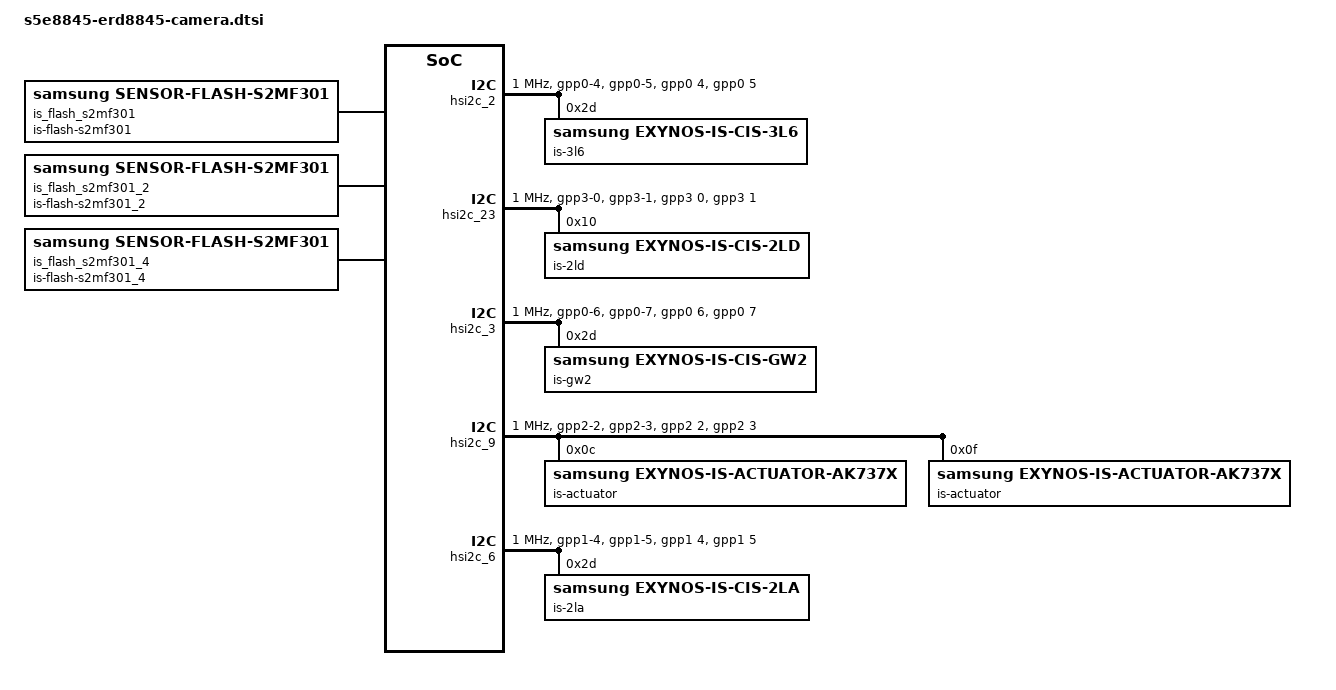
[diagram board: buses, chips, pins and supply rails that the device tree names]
/*
 * Samsung Exynos SoC series Pablo driver
 *
 * Copyright (c) 2023 Samsung Electronics Co., Ltd
 *
 * This program is free software; you can redistribute it and/or modify
 * it under the terms of the GNU General Public License version 2 as
 * published by the Free Software Foundation.
 */

#include <dt-bindings/camera/exynos_is_dt.h>

#include "module_2ld.dtsi" /* REAR CAMERA */
#include "module_3l6.dtsi" /* FRONT CAMERA */
#include "module_2la.dtsi" /* Ultra Wide CAMERA */
#include "module_gw2_low_mipi.dtsi" /* Tele CAMERA */

/ {
	fragment@camera {
		target-path = "/";
		__overlay__ {
			#address-cells = <2>;
			#size-cells = <1>;
			interrupt-parent = <&gic>;

			/* UW CAMERA */
			is_sensor_2ld: is_sensor_2ld@20 {
				pinctrl-names = "pin0", "pin1", "pin2", "release";
				pinctrl-0 = <>;
				pinctrl-1 = <&sensor_mclk0_out>;
				pinctrl-2 = <&sensor_mclk0_fn>;
				pinctrl-3 = <>;

				/* board */
				position = <4>;	/* Rear:0. Front1:1. Tele:2. Front2:3. Ultra Wide:4 */
				id = <4>; /* is_sensor id */
				mclk_ch = <0>;
				sensor_i2c_ch = <0>; /* SENSOR_CONTROL_I2C0 */

				/* peri */
				af {
					product_name = <18>; /* ACTUATOR_NAME_AK737X */
					i2c_ch = <7>; /* SENSOR_CONTROL_I2C7 */
				};

				flash {
					product_name = <19>; /* S2MF301 */
				};

				ois {
					product_name = <100>; /* NOTHING */
				};

				power_seq {
					use = <1>;
					gpio_mclk = <&gpg0 1 0x1>;

					scenario_normal_on {
						sensor_scenario = <SENSOR_SCENARIO_NORMAL>;
						gpio_scenario = <GPIO_SCENARIO_ON>;

						/* A start node number should be over the 10 for reserved number 0~9. */
						/* pname = "name"; pin = <act value delay voltage>; gpio = <gpx# # 0x1>; */
						3 { pname; pin; gpio; };
						5 { pname; pin; gpio; };
						10 { pname = "sen_rst low"; pin = <PIN_OUTPUT 0 0>; gpio = <&gpg2 1 0x1>; };
						20 { pname = "VDDIO_1.8V_CAMIO"; pin = <PIN_REGULATOR 1 300>; share = <SRT_ACQUIRE SHARED_PIN2 1>; };
						30 { pname = "VDDA_2.95V_CAM"; pin = <PIN_REGULATOR 1 0>; };
						40 { pname = "VDDD_1.05V_SUB"; pin = <PIN_REGULATOR 1 0>; };
						50 { pname = "VDDD_1.05V_SUB2"; pin = <PIN_REGULATOR 1 1>; };
						60 { pname = "VDDA_2.8V_VT"; pin = <PIN_REGULATOR 1 1>; share = <SRT_ACQUIRE SHARED_PIN6 1>; actuator_i2c_delay = <10000>; };
						65 { pname; pin; gpio; };
						66 { pname; pin; gpio; };
						85 { pname; pin; gpio; };
						86 { pname; pin; gpio; };
						90 { pname = "on_i2c"; pin = <PIN_I2C 1 0>; };
						100 { pname = "pin"; pin = <PIN_FUNCTION 2 0>; share = <SRT_ACQUIRE SHARED_PIN1 1>; };
						110 { pname = "MCLK"; pin = <PIN_MCLK 1 1500>; share = <SRT_ACQUIRE SHARED_PIN0 1>; };
						120 { pname = "sen_rst high"; pin = <PIN_OUTPUT 1 3000>; gpio = <&gpg2 1 0x1>; };
					};

					scenario_vision_on {
						sensor_scenario = <SENSOR_SCENARIO_VISION>;
						gpio_scenario = <GPIO_SCENARIO_ON>;

						/* A start node number should be over the 10 for reserved number 0~9. */
						/* pname = "name"; pin = <act value delay voltage>; gpio = <gpx# # 0x1>; */
						3 { pname; pin; gpio; };
						5 { pname; pin; gpio; };
						10 { pname = "sen_rst low"; pin = <PIN_OUTPUT 0 0>; gpio = <&gpg2 1 0x1>; };
						20 { pname = "VDDIO_1.8V_CAMIO"; pin = <PIN_REGULATOR 1 300>; };
						30 { pname = "VDDA_2.95V_CAM"; pin = <PIN_REGULATOR 1 0>; };
						40 { pname = "VDDD_1.05V_SUB"; pin = <PIN_REGULATOR 1 0>; };
						50 { pname = "VDDD_1.05V_SUB2"; pin = <PIN_REGULATOR 1 1>; };
						60 { pname = "VDDA_2.8V_VT"; pin = <PIN_REGULATOR 1 1>; };

						90 { pname = "on_i2c"; pin = <PIN_I2C 1 0>; };
						100 { pname = "pin"; pin = <PIN_FUNCTION 2 0>; };
						110 { pname = "MCLK"; pin = <PIN_MCLK 1 1500>; };
						120 { pname = "sen_rst high"; pin = <PIN_OUTPUT 1 3000>; gpio = <&gpg2 1 0x1>; };
					};

					scenario_hw_init_normal_on {
						/* HW INIT (without ois power control) */
						sensor_scenario = <SENSOR_SCENARIO_HW_INIT>;
						gpio_scenario = <GPIO_SCENARIO_ON>;

						10 { pname = "sen_rst low"; pin = <PIN_OUTPUT 0 0>; gpio = <&gpg2 1 0x1>; };
						20 { pname = "VDDIO_1.8V_CAMIO"; pin = <PIN_REGULATOR 1 300>; };
						30 { pname = "VDDA_2.95V_CAM"; pin = <PIN_REGULATOR 1 0>; };
						40 { pname = "VDDD_1.05V_SUB"; pin = <PIN_REGULATOR 1 0>; };
						50 { pname = "VDDD_1.05V_SUB2"; pin = <PIN_REGULATOR 1 1 >; };
						60 { pname = "VDDA_2.8V_VT"; pin = <PIN_REGULATOR 1 1>; };
						90 { pname = "on_i2c"; pin = <PIN_I2C 1 0>; };
						100 { pname = "pin"; pin = <PIN_FUNCTION 2 0>; };
						110 { pname = "MCLK"; pin = <PIN_MCLK 1 1500>; };
						120 { pname = "sen_rst high"; pin = <PIN_OUTPUT 1 3000>; gpio = <&gpg2 1 0x1>; };
					};

					scenario_normal_off {
						sensor_scenario = <SENSOR_SCENARIO_NORMAL>;
						gpio_scenario = <GPIO_SCENARIO_OFF>;

						/* A start node number should be over the 10 for reserved number 0~9. */
						/* pname = "name"; pin = <act value delay voltage>; gpio = <gpx# # 0x1>; */
						5 { pname = "sen_rst low"; pin = <PIN_OUTPUT 0 10>; gpio = <&gpg2 1 0x1>; };
						10 { pname = "VDDA_2.8V_VT"; pin = <PIN_REGULATOR 0 10>; share = <SRT_RELEASE SHARED_PIN6 0>; };
						20 { pname = "VDDD_1.05V_SUB"; pin = <PIN_REGULATOR 0 0>; };
						30 { pname = "VDDD_1.05V_SUB2"; pin = <PIN_REGULATOR 0 10>; };
						40 { pname = "VDDA_2.95V_CAM"; pin = <PIN_REGULATOR 0 0>; };
						60 { pname = "MCLK"; pin = <PIN_MCLK 0 0>; share = <SRT_RELEASE SHARED_PIN0 0>; };
						70 { pname = "pin"; pin = <PIN_FUNCTION 0 0>; };
						80 { pname = "pin"; pin = <PIN_FUNCTION 1 0>; share = <SRT_RELEASE SHARED_PIN1 0>; };
						90 { pname = "pin"; pin = <PIN_FUNCTION 0 0>; };
						110 { pname = "off_i2c"; pin = <PIN_I2C 0 0>; };
						116 { pname; pin; gpio; };
						117 { pname; pin; gpio; };
						118 { pname; pin; gpio; };
						119 { pname; pin; gpio; };
						130 { pname = "VDDIO_1.8V_CAMIO"; pin = <PIN_REGULATOR 0 10>; share = <SRT_RELEASE SHARED_PIN2 0>; };
						140 { pname; pin; gpio; };
						145 { pname; pin; gpio; };
					};

					scenario_vision_off {
						sensor_scenario = <SENSOR_SCENARIO_VISION>;
						gpio_scenario = <GPIO_SCENARIO_OFF>;

						/* A start node number should be over the 10 for reserved number 0~9. */
						/* pname = "name"; pin = <act value delay voltage>; gpio = <gpx# # 0x1>; */

						/* A start node number should be over the 10 for reserved number 0~9. */
						/* pname = "name"; pin = <act value delay voltage>; gpio = <gpx# # 0x1>; */
						5 { pname = "sen_rst low"; pin = <PIN_OUTPUT 0 10>; gpio = <&gpg2 1 0x1>; };
						10 { pname = "VDDA_2.8V_VT"; pin = <PIN_REGULATOR 0 10>; };
						20 { pname = "VDDD_1.05V_SUB"; pin = <PIN_REGULATOR 0 0>; };
						30 { pname = "VDDD_1.05V_SUB2"; pin = <PIN_REGULATOR 0 10>; };
						40 { pname = "VDDA_2.95V_CAM"; pin = <PIN_REGULATOR 0 0>; };
						60 { pname = "MCLK"; pin = <PIN_MCLK 0 0>; };
						70 { pname = "pin"; pin = <PIN_FUNCTION 0 0>; };
						80 { pname = "pin"; pin = <PIN_FUNCTION 1 0>; };
						90 { pname = "pin"; pin = <PIN_FUNCTION 0 0>; };
						100 { pname = "sen_rst low"; pin = <PIN_OUTPUT 0 10>; gpio = <&gpg2 1 0x1>; };
						110 { pname = "off_i2c"; pin = <PIN_I2C 0 0>; };
						130 { pname = "VDDIO_1.8V_CAMIO"; pin = <PIN_REGULATOR 0 10>; };
						140 { pname; pin; gpio; };
						145 { pname; pin; gpio; };
					};
				};
			};

			/* REAR CAMERA */
			is_sensor_2la: is_sensor_2la@2D {
				pinctrl-names = "pin0", "pin1", "pin2", "release";
				pinctrl-0 = <>;
				pinctrl-1 = <&sensor_mclk1_out>;
				pinctrl-2 = <&sensor_mclk1_fn>;
				pinctrl-3 = <>;

				/* board */
				position = <0>;	/* Rear:0. Front1:1. Tele:2. Front2:3. Ultra Wide:4 */
				id = <0>; /* is_sensor id */
				mclk_ch = <1>;
				sensor_i2c_ch = <4>; /* SENSOR_CONTROL_I2C4 */

				/* peri */
				af {
					product_name = <100>; /* NOTHING */
				};

				flash {
					product_name = <19>; /* S2MF301 */
				};

				ois {
					product_name = <100>; /* NOTHING */
				};

				power_seq {
					use = <1>;
					gpio_mclk = <&gpg0 2 0x1>;

					scenario_normal_on {
						sensor_scenario = <SENSOR_SCENARIO_NORMAL>;
						gpio_scenario = <GPIO_SCENARIO_ON>;

						/* A start node number should be over the 10 for reserved number 0~9. */
						/* pname = "name"; pin = <act value dealy voltage>; gpio = <gpx# # 0x1>; */
						3 { pname; pin; gpio; };
						5 { pname; pin; gpio; };
						10 { pname = "sen_rst low"; pin = <PIN_OUTPUT 0 0>; gpio = <&gpg1 2 0x1>; };
						20 { pname = "VDDA_2.8V_UWCAM"; pin = <PIN_REGULATOR 1 0>; };
						30 { pname = "VDDD_1.05V_UWCAM"; pin = <PIN_REGULATOR 1 0>; };
						40 { pname = "VDDIO_1.8V_CAMIO"; pin = <PIN_REGULATOR 1 0>; share = <SRT_ACQUIRE SHARED_PIN2 1>;};
						50 { pname = "on_i2c"; pin = <PIN_I2C 1 10>; };
						60 { pname = "sen_rst high"; pin = <PIN_OUTPUT 1 300>; gpio = <&gpg1 2 0x1>; };
						70 { pname = "pin"; pin = <PIN_FUNCTION 2 0>; };
						80 { pname = "MCLK"; pin = <PIN_MCLK 1 2000>; };
					};

					scenario_vision_on {
						sensor_scenario = <SENSOR_SCENARIO_VISION>;
						gpio_scenario = <GPIO_SCENARIO_ON>;

						/* A start node number should be over the 10 for reserved number 0~9. */
						/* pname = "name"; pin = <act value dealy voltage>; gpio = <gpx# # 0x1>; */
						3 { pname; pin; gpio; };
						5 { pname; pin; gpio; };
						10 { pname = "sen_rst low"; pin = <PIN_OUTPUT 0 0>; gpio = <&gpg1 2 0x1>; };
						20 { pname = "VDDA_2.8V_UWCAM"; pin = <PIN_REGULATOR 1 0>; };
						30 { pname = "VDDD_1.05V_UWCAM"; pin = <PIN_REGULATOR 1 0>; };
						40 { pname = "VDDIO_1.8V_CAMIO"; pin = <PIN_REGULATOR 1 0>; };
						50 { pname = "on_i2c"; pin = <PIN_I2C 1 10>; };
						60 { pname = "sen_rst high"; pin = <PIN_OUTPUT 1 300>; gpio = <&gpg1 2 0x1>; };
						70 { pname = "pin"; pin = <PIN_FUNCTION 2 0>; };
						80 { pname = "MCLK"; pin = <PIN_MCLK 1 2000>; };
					};

					scenario_hw_init_normal_on {
						/* HW INIT (without ois power control) */
						sensor_scenario = <SENSOR_SCENARIO_HW_INIT>;
						gpio_scenario = <GPIO_SCENARIO_ON>;

						10 { pname; pin; gpio; };
						20 { pname; pin; gpio; };
						30 { pname; pin; gpio; };
						40 { pname; pin; gpio; };
						50 { pname; pin; gpio; };
						60 { pname; pin; gpio; };
						70 { pname; pin; gpio; };
						80 { pname; pin; gpio; };
						90 { pname; pin; gpio; };
						100 { pname; pin; gpio; };
						110 { pname; pin; gpio; };
						120 { pname; pin; gpio; };
					};

					scenario_normal_off {
						sensor_scenario = <SENSOR_SCENARIO_NORMAL>;
						gpio_scenario = <GPIO_SCENARIO_OFF>;

						/* A start node number should be over the 10 for reserved number 0~9. */
						/* pname = "name"; pin = <act value dealy voltage>; gpio = <gpx# # 0x1>; */
						10 { pname = "sen_rst low"; pin = <PIN_OUTPUT 0 0>; gpio = <&gpg1 2 0x1>; };
						20 { pname = "off_i2c"; pin = <PIN_I2C 0 0>; };
						30 { pname = "VDDIO_1.8V_CAMIO"; pin = <PIN_REGULATOR 0 0>; share = <SRT_RELEASE SHARED_PIN2 0>;};
						40 { pname = "VDDD_1.05V_UWCAM"; pin = <PIN_REGULATOR 0 0>; };
						50 { pname = "VDDA_2.8V_UWCAM"; pin = <PIN_REGULATOR 0 0>; };
						60 { pname = "MCLK"; pin = <PIN_MCLK 0 0>; };
						70 { pname = "pin"; pin = <PIN_OUTPUT 0 0>; };
						140 { pname; pin; gpio; };
						145 { pname; pin; gpio; };
					};

					scenario_vision_off {
						sensor_scenario = <SENSOR_SCENARIO_VISION>;
						gpio_scenario = <GPIO_SCENARIO_OFF>;

						/* A start node number should be over the 10 for reserved number 0~9. */
						/* pname = "name"; pin = <act value dealy voltage>; gpio = <gpx# # 0x1>; */
						10 { pname = "sen_rst low"; pin = <PIN_OUTPUT 0 0>; gpio = <&gpg1 2 0x1>; };
						20 { pname = "off_i2c"; pin = <PIN_I2C 0 0>; };
						30 { pname = "VDDIO_1.8V_CAMIO"; pin = <PIN_REGULATOR 0 0>; };
						40 { pname = "VDDD_1.05V_UWCAM"; pin = <PIN_REGULATOR 0 0>; };
						50 { pname = "VDDA_2.8V_UWCAM"; pin = <PIN_REGULATOR 0 0>; };
						60 { pname = "MCLK"; pin = <PIN_MCLK 0 0>; };
						70 { pname = "pin"; pin = <PIN_OUTPUT 0 0>; };
						140 { pname; pin; gpio; };
						145 { pname; pin; gpio; };
					};
				};
			};

			is_sensor_gw2: is_sensor_gw2@5A {
				flash {
					product_name = <19>; /* S2MF301 */
				};
			};

			is_flash_s2mf301: is-flash-s2mf301@0 {
				compatible = "samsung,sensor-flash-s2mf301";
				sensor-module = <&is_sensor_2la>;
				id = <0>;
				led_ch = <1>;
				status = "okay";
			};

			is_flash_s2mf301_2: is-flash-s2mf301_2@0 {
				compatible = "samsung,sensor-flash-s2mf301";
				sensor-module = <&is_sensor_gw2>;
				id = <2>;
				led_ch = <1>;
				status = "okay";
			};

			is_flash_s2mf301_4: is-flash-s2mf301_4@0 {
				compatible = "samsung,sensor-flash-s2mf301";
				sensor-module = <&is_sensor_2ld>;
				id = <4>;
				led_ch = <1>;
				status = "okay";
			};

			/* REAR CAMERA */
			is_sensor0: is_sensor0@15030000 {
				reg = <0x0 0x15030000 0x1000>, /* MIPI-CSI0 */
					<0x0 0x150F0000 0x10000>, /* PHY: M0S4S4S4S4 */
					<0x0 0x150B022C 0x10>, /* CSIS_FRO */
					<0x0 0x150B0254 0x10>; /* CSIS 5x4 IBUF MUX */
				scenario = <SENSOR_SCENARIO_NORMAL>;	/* Normal, Vision, OIS etc */
				id = <0>;	/* VIDEO_SS0 */
				csi_ch = <0>; /* CSI0 */
				status = "okay";
				use_cphy = <1>;

				phy_setfile = <&dcphy_setfile_cphy>;
			};

			/* FRONT CAMERA */
			is_sensor1: is_sensor1@15040000 {
				reg = <0x0 0x15060000 0x1000>, /* MIPI-CSI3 */
					<0x0 0x150F0000 0x10000>, /* PHY: M0S4S4S4S4 */
					<0x0 0x150B022C 0x10>, /* CSIS_FRO */
					<0x0 0x150B0254 0x10>; /* CSIS 5x4 IBUF MUX */
				scenario = <SENSOR_SCENARIO_NORMAL>;    /* Normal, Vision, OIS etc */
				id = <1>;
				csi_ch = <3>;
				status = "okay";
				use_cphy = <0>;

				interrupts = <0 INTREQ__CSIS3 IRQ_TYPE_LEVEL_HIGH>;
				phys = <&mipi_phy_csis3_m0s4s4s4s4_s22 0>;
				phy_setfile = <&dphy_setfile>;
			};

			/* Tele CAMERA */
			is_sensor2: is_sensor2@15050000 {
				reg = <0x0 0x15040000 0x1000>, /* MIPI-CSI1 */
					<0x0 0x150F0000 0x10000>, /* PHY: M0S4S4S4S4 */
					<0x0 0x150B022C 0x10>, /* CSIS_FRO */
					<0x0 0x150B0254 0x10>; /* CSIS 5x4 IBUF MUX */
				scenario = <SENSOR_SCENARIO_NORMAL>;    /* Normal, Vision, OIS etc */
				id = <2>;
				csi_ch = <1>;
				status = "okay";
				use_cphy = <1>;

				interrupts = <0 INTREQ__CSIS1 IRQ_TYPE_LEVEL_HIGH>;
				phys = <&mipi_phy_csis1_m0s4s4s4s4_s22 0>;
				phy_setfile = <&dcphy_setfile_cphy>;
			};

			/* FRONT2 CAMERA : 2+2 lane */
			is_sensor3: is_sensor3@15060000 {
				reg = <0x0 0x15070000 0x1000>, /* MIPI-CSI4 */
					<0x0 0x150F0000 0x10000>, /* PHY: M0S4S4S4S4 */
					<0x0 0x150B022C 0x10>, /* CSIS_FRO */
					<0x0 0x150B0254 0x10>; /* CSIS 5x4 IBUF MUX */
				scenario = <SENSOR_SCENARIO_NORMAL>;    /* Normal, Vision, OIS etc */
				id = <3>;
				csi_ch = <4>;
				status = "okay";

				interrupts = <0 INTREQ__CSIS4 IRQ_TYPE_LEVEL_HIGH>; /* MIPI-CSI4 */
				phys = <&mipi_phy_csis4_m0s4s4s4s4_s22 0>;
				phy_setfile = <&dphy_setfile_2lane>;
			};

			/* ULTRA WIDE CAMERA */
			is_sensor4: is_sensor4@15070000 {
				reg = <0x0 0x15050000 0x1000>, /* MIPI-CSI2 */
					<0x0 0x150F0000 0x10000>, /* PHY: M0S4S4S4S4 */
					<0x0 0x150B022C 0x10>, /* CSIS_FRO */
					<0x0 0x150B0254 0x10>; /* CSIS 5x4 IBUF MUX */
				scenario = <SENSOR_SCENARIO_NORMAL>;    /* Normal, Vision, OIS etc */
				id = <4>;
				csi_ch = <2>;
				status = "okay";
				use_cphy = <1>;

				interrupts = <0 INTREQ__CSIS2 IRQ_TYPE_LEVEL_HIGH>;
				phys = <&mipi_phy_csis2_m0s4s4s4s4_s22 0>;
				phy_setfile = <&dcphy_setfile_cphy>;
			};
		}; /* end of __overlay__ */
	}; /* end of fragment */
}; /* end of root */

/***** reference symbol node *****/
&pinctrl_3 {
	/* REAR TELE */
	hsi2c3_bus_in: hsi2c3-bus-in {
		samsung,pins = "gpp0-6", "gpp0-7";
		samsung,pin-function = <0>;
		samsung,pin-pud = <3>;
		samsung,pin-drv = <0>;
	};

	hsi2c3_bus: hsi2c3-bus {
		samsung,pins = "gpp0-6", "gpp0-7";
		samsung,pin-function = <3>;
		samsung,pin-pud = <3>;
		samsung,pin-drv = <0>;
	};

	/* REAR WIDE/TELE AF */
	hsi2c9_bus_in: hsi2c9-bus-in {
		samsung,pins = "gpp2-2", "gpp2-3";
		samsung,pin-function = <0>;
		samsung,pin-pud = <3>;
		samsung,pin-drv = <0>;
	};

	hsi2c9_bus: hsi2c9-bus {
		samsung,pins = "gpp2-2", "gpp2-3";
		samsung,pin-function = <3>;
		samsung,pin-pud = <3>;
		samsung,pin-drv = <0>;
	};

	/* U WIDE */
	hsi2c6_bus_in: hsi2c6-bus-in {
		samsung,pins = "gpp1-4", "gpp1-5";
		samsung,pin-function = <0>;
		samsung,pin-pud = <3>;
		samsung,pin-drv = <0>;
	};

	hsi2c6_bus: hsi2c6-bus {
		samsung,pins = "gpp1-4", "gpp1-5";
		samsung,pin-function = <2>;
		samsung,pin-pud = <3>;
		samsung,pin-drv = <0>;
	};

	/* Front */
	hsi2c2_bus_in: hsi2c2-bus-in {
		samsung,pins = "gpp0-4", "gpp0-5";
		samsung,pin-function = <0>;
		samsung,pin-pud = <3>;
		samsung,pin-drv = <0>;
	};

	hsi2c2_bus: hsi2c2-bus {
		samsung,pins = "gpp0-4", "gpp0-5";
		samsung,pin-function = <2>;
		samsung,pin-pud = <3>;
		samsung,pin-drv = <0>;
	};
};

&pinctrl_5 {
	/* REAR WIDE */
	hsi2c23_bus_in: hsi2c23-bus-in {
		samsung,pins = "gpp3-0", "gpp3-1";
		samsung,pin-function = <0>;
		samsung,pin-pud = <3>;
		samsung,pin-drv = <0>;
	};

	hsi2c23_bus: hsi2c23-bus {
		samsung,pins = "gpp3-0", "gpp3-1";
		samsung,pin-function = <2>;
		samsung,pin-pud = <3>;
		samsung,pin-drv = <0>;
	};
};

&hsi2c_2 {
	#address-cells = <1>;
	#size-cells = <0>;
	gpios = <&gpp0 4 0 &gpp0 5 0>;
	status = "okay";
	clock-frequency = <1000000>;
	samsung,reset-before-trans;

	pinctrl-names = "default","on_i2c","off_i2c";
	pinctrl-0 = <&hsi2c2_bus_in>;
	pinctrl-1 = <&hsi2c2_bus>;
	pinctrl-2 = <&hsi2c2_bus_in>;

	is-3l6@35 {
		compatible = "samsung,exynos-is-cis-3l6";
		sensor-module = <&is_sensor_3l6>;
		reg = <0x2D>; /* 1 bit right shift */
		id = <1>; /* matching is_sensor id */
		setfile = "setC";
	};
};

&hsi2c_23 {
	#address-cells = <1>;
	#size-cells = <0>;
	gpios = <&gpp3 0 0 &gpp3 1 0>;
	status = "okay";
	clock-frequency = <1000000>;
	samsung,reset-before-trans;
	samsung,fast-plus-mode;

	pinctrl-names = "default","on_i2c","off_i2c";
	pinctrl-0 = <&hsi2c23_bus_in>;
	pinctrl-1 = <&hsi2c23_bus>;
	pinctrl-2 = <&hsi2c23_bus_in>;

	is-2ld@20 {
		compatible = "samsung,exynos-is-cis-2ld";
		sensor-module = <&is_sensor_2ld>;
		reg = <0x10>; /* 1 bit right shift */
		id = <4>; /* matching is_sensor id */
		setfile = "default";
		rev_reg = <0x0002 2 0xA301>;
	};
};

&hsi2c_3 {
	#address-cells = <1>;
	#size-cells = <0>;
	gpios = <&gpp0 6 0 &gpp0 7 0>;
	status = "okay";
	clock-frequency = <1000000>;
	samsung,reset-before-trans;
	samsung,fast-plus-mode;

	pinctrl-names = "default","on_i2c","off_i2c";
	pinctrl-0 = <&hsi2c3_bus_in>;
	pinctrl-1 = <&hsi2c3_bus>;
	pinctrl-2 = <&hsi2c3_bus_in>;

	is-gw2@2D {
		compatible = "samsung,exynos-is-cis-gw2";
		sensor-module = <&is_sensor_gw2>;
		reg = <0x2D>; /* 1 bit right shift */
		id = <2>; /* matching is_sensor id */
		setfile = "setD";
		rev_reg = <0x0002 2 0xA300>;
	};
};

&hsi2c_9 {
	#address-cells = <1>;
	#size-cells = <0>;
	gpios = <&gpp2 2 0 &gpp2 3 0>;
	status = "okay";
	clock-frequency = <1000000>;
	samsung,reset-before-trans;
	samsung,fast-plus-mode;

	pinctrl-names = "default","on_i2c","off_i2c";
	pinctrl-0 = <&hsi2c9_bus_in>;
	pinctrl-1 = <&hsi2c9_bus>;
	pinctrl-2 = <&hsi2c9_bus_in>;

	is-actuator@0C { /* wide AF */
		compatible = "samsung,exynos-is-actuator-ak737x";
		sensor-module = <&is_sensor_2ld>;
		reg = <0x0C>;
		id = <4>; /* matching is_sensor id */
		/* AK737x: addr 0xF3, data 0x0E */
		vendor_product_id = <0xF3 0x0E 0xF3 0x13 0xF3 0x00>;
		vendor_first_pos = <250>;
		vendor_first_delay = <2000>;
		vendor_soft_landing_seqid = <1>;
		vendor_soft_landing_list = <100 30 0 30>; /* 1st_pos delay 2nd_pos delay */
		vendor_use_sleep_mode;
		vendor_use_standby_mode; /* AK7377 with vendor_use_sleep_mode */
	};

	is-actuator@0F { /* tele AF */
		compatible = "samsung,exynos-is-actuator-ak737x";
		sensor-module = <&is_sensor_gw2>;
		reg = <0x0F>;
		id = <2>; /* matching sensor id */
		/* AK7377: addr 0xF3, data 0x0E */
		vendor_product_id = <0xF3 0x0E 0xF3 0x13 0xF3 0x00>;
		vendor_first_pos = <250>;
		vendor_first_delay = <2000>;
		vendor_soft_landing_seqid = <1>;
		vendor_soft_landing_list = <100 30 0 30>; /* 1st_pos delay 2nd_pos delay */
		vendor_use_sleep_mode;
		vendor_use_standby_mode; /* AK7377 with vendor_use_sleep_mode */
	};
};

&hsi2c_6 {
	#address-cells = <1>;
	#size-cells = <0>;
	gpios = <&gpp1 4 0 &gpp1 5 0>;
	status = "okay";
	clock-frequency = <1000000>;
	samsung,reset-before-trans;
	samsung,fast-plus-mode;

	pinctrl-names = "default","on_i2c","off_i2c";
	pinctrl-0 = <&hsi2c6_bus_in>;
	pinctrl-1 = <&hsi2c6_bus>;
	pinctrl-2 = <&hsi2c6_bus_in>;

	is-2la@2D {
		compatible = "samsung,exynos-is-cis-2la";
		sensor-module = <&is_sensor_2la>;
		reg = <0x2D>; /* 1 bit right shift */
		id = <0>; /* matching is_sensor id */
		setfile = "setA";
		status = "okay";
		rev_reg = <0x0002 2 0xA202>;
	};
};

&exynos_is {
	vendor {
		use_module_check;
		use_ois;
		check_sensor_vendor;
		ois_sensor_index = <0>;
		aperture_sensor_index = <0>;
		mcu_sensor_index = <0>;

		max_supported_camera = <9>;
		supported_cameraId = <0 1 2 20 21 23 50 52 80>;
		ois_gyro_list = <0x00 0x00 0x01 0x01 0x01>;
		/*
		* Wide(0)
		* Front(1)
		* U Wide(2)
		* Front 80(3) - not available for factory
		* Rear ToF(4) - not available for factory
		* Front Secure(5) - not available for factory
		* Dual Zoom(20)
		* Dual Portrait Tele(21) - Main Tele/Sub Wide
		* Dual Portrait Wide(23) - Main Wide/Sub U Wide
		* Tele 2x2(50)
		* Tele 17.9(52)
		* REAR ToF(80)
		*/

		/* sysfs camera id */
		max_camera_num = <9>;
		sensor_name { /* sensor_position = "name" */
			0 = "2LA";
			1 = "3L6";
			2 = "GW2";
			4 = "2LD";
		};
		camera_info0 {			/* 0 : sysfs rear */
			internal_id = <0>;	/* 0 : wide */
			isp = <0>;		/* 0 : INT, 1 : EXT, 2 : SOC */
			cal_memory = <2>;	/* 0 : N, 1 : FROM, 2 : EEPROM, 3 : OTP */
			read_version = <0>;	/* 0 : SYSFS, 1 : CAMON */
			core_voltage = <0>;	/* 0 : N, 1 : Y */
			upgrade = <0>;		/* 0 : N, 1 : SYSFS , 2 : CAMON */
			fw_write = <0>;		/* 0 : N, 1 : OS, 2 : SD, 3 : ALL */
			fw_dump = <0>;		/* 0 : N, 1 : Y */
			companion = <0>;	/* 0 : N, 1 : Y */
			ois = <1>;		/* 0 : N, 1 : Y */
			valid = <1>;		/* 0 : INVALID, 1 : VALID */
		};
		camera_info1 {			/* 1 : sysfs front */
			internal_id = <1>;	/* 1 : front master */
			isp = <0>;		/* 0 : INT, 1 : EXT, 2 : SOC */
			cal_memory = <2>;	/* 0 : N, 1 : FROM, 2 : EEPROM, 3 : OTP */
			read_version = <0>;	/* 0 : SYSFS, 1 : CAMON */
			core_voltage = <0>;	/* 0 : N, 1 : Y */
			upgrade = <0>;		/* 0 : N, 1 : SYSFS, 2 : CAMON */
			fw_write = <0>;		/* 0 : N, 1 : OS, 2 : SD, 3 : ALL */
			fw_dump = <0>;		/* 0 : N, 1 : Y */
			companion = <0>;	/* 0 : N, 1 : Y */
			ois = <0>;		/* 0 : N, 1 : Y */
			valid = <1>;		/* 0 : INVALID, 1 : VALID */
		};
		camera_info2 {			/* 2 : sysfs rear2 */
			internal_id = <4>;	/* 4 : ultra wide */
			isp = <0>;		/* 0 : INT, 1 : EXT, 2 : SOC */
			cal_memory = <2>;	/* 0 : N, 1 : FROM, 2 : EEPROM, 3 : OTP */
			read_version = <0>;	/* 0 : SYSFS, 1 : CAMON */
			core_voltage = <0>;	/* 0 : N, 1 : Y */
			upgrade = <0>;		/* 0 : N, 1 : SYSFS, 2 : CAMON */
			fw_write = <0>;		/* 0 : N, 1 : OS, 2 : SD, 3 : ALL */
			fw_dump = <0>;		/* 0 : N, 1 : Y */
			companion = <0>;	/* 0 : N, 1 : Y */
			ois = <0>;		/* 0 : N, 1 : Y */
			valid = <1>;		/* 0 : INVALID, 1 : VALID */
		};
		camera_info3 {			/* 3 : sysfs front2 */
			internal_id = <3>;	/* 3 : front sub */
			isp = <0>;		/* 0 : INT, 1 : EXT, 2 : SOC */
			cal_memory = <2>;	/* 0 : N, 1 : FROM, 2 : EEPROM, 3 : OTP */
			read_version = <0>;	/* 0 : SYSFS, 1 : CAMON */
			core_voltage = <0>;	/* 0 : N, 1 : Y */
			upgrade = <0>;		/* 0 : N, 1 : SYSFS, 2 : CAMON */
			fw_write = <0>;		/* 0 : N, 1 : OS, 2 : SD, 3 : ALL */
			fw_dump = <0>;		/* 0 : N, 1 : Y */
			companion = <0>;	/* 0 : N, 1 : Y */
			ois = <0>;		/* 0 : N, 1 : Y */
			valid = <1>;		/* 0 : INVALID, 1 : VALID */
		};
		camera_info4 {			/* 4 : sysfs rear3 */
			internal_id = <2>;	/* 4 : tele */
			isp = <0>;		/* 0 : INT, 1 : EXT, 2 : SOC */
			cal_memory = <2>;	/* 0 : N, 1 : FROM, 2 : EEPROM, 3 : OTP */
			read_version = <0>;	/* 0 : SYSFS, 1 : CAMON */
			core_voltage = <0>;	/* 0 : N, 1 : Y */
			upgrade = <0>;		/* 0 : N, 1 : SYSFS, 2 : CAMON */
			fw_write = <0>;		/* 0 : N, 1 : OS, 2 : SD, 3 : ALL */
			fw_dump = <0>;		/* 0 : N, 1 : Y */
			companion = <0>;	/* 0 : N, 1 : Y */
			ois = <1>;		/* 0 : N, 1 : Y */
			valid = <1>;		/* 0 : INVALID, 1 : VALID   */
		};
		camera_info5 {			/* 5 : sysfs front3 */
			valid = <0>;		/* 0 : INVALID, 1 : VALID */
		};
		camera_info6 {			/* 6 : sysfs rear4 */
			valid = <0>;		/* 0 : INVALID, 1 : VALID */
		};
		camera_info7 {			/* 7 : sysfs front4 */
			valid = <0>;		/* 0 : INVALID, 1 : VALID */
		};
		camera_info8 {			/* 8 : sysfs rear tof */
			valid = <0>;		/* 0 : INVALID, 1 : VALID */
		};
	};

	lic_offsets {
		/* 3AA = <setA lic offset0, setA lic offset1, set A trigger context */
		/*		setB lic offset0, setB lic offset1, set B trigger context> */
		/* 4672: 4640x4352 */
		/* 5824: 5804x4352 */
		3AA = <5461 10922 16383 0 5461 10922 16383 0>;
	};

	is_dvfs {
		table0 {
			desc = "dvfs table v0.2";

			default_int_cam = <1>;
			default_cam = <1>;
			default_csis = <1>;
			default_isp = <1>;
			default_mif = <1>;
			default_icpu = <0>;

			rear_single_photo_isp = <6>;
			rear_single_photo_int_cam = <4>;
			rear_single_photo_mif = <8>;
			rear_single_photo_icpu = <1>;

			rear_single_photo_full_isp = <5>;
			rear_single_photo_full_int_cam = <3>;
			rear_single_photo_full_mif = <7>;
			rear_single_photo_full_icpu = <1>;

			rear_single_video_fhd30_isp = <6>;
			rear_single_video_fhd30_int_cam = <4>;
			rear_single_video_fhd30_mif = <8>;
			rear_single_video_fhd30_icpu = <1>;

			rear_single_video_fhd30_supersteady_isp = <5>;
			rear_single_video_fhd30_supersteady_int_cam = <3>;
			rear_single_video_fhd30_supersteady_mif = <7>;
			rear_single_video_fhd30_supersteady_icpu = <0>;

			rear_single_video_fhd30_recursive_isp = <1>;
			rear_single_video_fhd30_recursive_int_cam = <1>;
			rear_single_video_fhd30_recursive_mif = <1>;
			rear_single_video_fhd30_recursive_icpu = <0>;

			rear_single_video_fhd60_isp = <6>;
			rear_single_video_fhd60_int_cam = <4>;
			rear_single_video_fhd60_mif = <5>;
			rear_single_video_fhd60_icpu = <1>;

			rear_single_video_fhd60_supersteady_isp = <5>;
			rear_single_video_fhd60_supersteady_int_cam = <3>;
			rear_single_video_fhd60_supersteady_mif = <3>;
			rear_single_video_fhd60_supersteady_icpu = <1>;

			rear_single_video_uhd30_isp = <6>;
			rear_single_video_uhd30_int_cam = <4>;
			rear_single_video_uhd30_mif = <6>;
			rear_single_video_uhd30_icpu = <1>;

			rear_single_video_uhd30_recursive_isp = <1>;
			rear_single_video_uhd30_recursive_int_cam = <1>;
			rear_single_video_uhd30_recursive_mif = <1>;
			rear_single_video_uhd30_recursive_icpu = <0>;

			rear_single_video_uhd30_hf_isp = <6>;
			rear_single_video_uhd30_hf_int_cam = <4>;
			rear_single_video_uhd30_hf_mif = <5>;
			rear_single_video_uhd30_hf_icpu = <1>;

			rear_single_video_uhd60_isp = <4>;
			rear_single_video_uhd60_int_cam = <4>;
			rear_single_video_uhd60_mif = <2>;
			rear_single_video_uhd60_icpu = <1>;

			rear_single_video_uhd60_hf_isp = <4>;
			rear_single_video_uhd60_hf_int_cam = <4>;
			rear_single_video_uhd60_hf_mif = <2>;
			rear_single_video_uhd60_hf_icpu = <1>;

			rear_single_capture_cam = <0>;
			rear_single_capture_isp = <0>;
			rear_single_capture_int_cam = <4>;
			rear_single_capture_mif = <0>;
			rear_single_capture_icpu = <1>;

			rear_single_video_fhd120_isp = <6>;
			rear_single_video_fhd120_int_cam = <4>;
			rear_single_video_fhd120_mif = <6>;
			rear_single_video_fhd120_icpu = <1>;

			rear_single_video_hd240_isp = <6>;
			rear_single_video_hd240_int_cam = <4>;
			rear_single_video_hd240_mif = <5>;
			rear_single_video_hd240_icpu = <1>;

			rear_single_remosaic_photo_isp = <0>;
			rear_single_remosaic_photo_int_cam = <4>;
			rear_single_remosaic_photo_mif = <0>;
			rear_single_remosaic_photo_icpu = <1>;

			rear_single_remosaic_capture_cam = <0>;
			rear_single_remosaic_capture_isp = <0>;
			rear_single_remosaic_capture_int_cam = <4>;
			rear_single_remosaic_capture_mif = <0>;
			rear_single_remosaic_capture_icpu = <1>;

			rear_single_vt_isp = <6>;
			rear_single_vt_int_cam = <4>;
			rear_single_vt_mif = <8>;
			rear_single_vt_icpu = <1>;

			rear_single_wide_fastae_isp = <6>;
			rear_single_wide_fastae_int_cam = <4>;
			rear_single_wide_fastae_mif = <4>;
			rear_single_wide_fastae_icpu = <1>;

			rear_single_tele_photo_full_isp = <4>;
			rear_single_tele_photo_full_int_cam = <3>;
			rear_single_tele_photo_full_mif = <7>;
			rear_single_tele_photo_full_icpu = <1>;

			rear_single_tele_video_fhd30_isp = <5>;
			rear_single_tele_video_fhd30_int_cam = <4>;
			rear_single_tele_video_fhd30_mif = <8>;
			rear_single_tele_video_fhd30_icpu = <1>;

			rear_single_tele_video_fhd60_isp = <5>;
			rear_single_tele_video_fhd60_int_cam = <4>;
			rear_single_tele_video_fhd60_mif = <5>;
			rear_single_tele_video_fhd60_icpu = <1>;

			rear_single_tele_video_uhd30_isp = <5>;
			rear_single_tele_video_uhd30_int_cam = <4>;
			rear_single_tele_video_uhd30_mif = <6>;
			rear_single_tele_video_uhd30_icpu = <1>;

			rear_single_tele_video_uhd60_isp = <3>;
			rear_single_tele_video_uhd60_int_cam = <4>;
			rear_single_tele_video_uhd60_mif = <2>;
			rear_single_tele_video_uhd60_icpu = <1>;

			rear_dual_wide_tele_photo_isp = <1>;
			rear_dual_wide_tele_photo_int_cam = <1>;
			rear_dual_wide_tele_photo_mif = <0>;
			rear_dual_wide_tele_photo_icpu = <0>;

			rear_dual_wide_tele_video_fhd30_isp = <1>;
			rear_dual_wide_tele_video_fhd30_int_cam = <1>;
			rear_dual_wide_tele_video_fhd30_mif = <0>;
			rear_dual_wide_tele_video_fhd30_icpu = <0>;

			rear_dual_wide_tele_video_fhd60_isp = <1>;
			rear_dual_wide_tele_video_fhd60_int_cam = <1>;
			rear_dual_wide_tele_video_fhd60_mif = <0>;
			rear_dual_wide_tele_video_fhd60_icpu = <0>;

			rear_dual_wide_tele_video_uhd30_isp = <1>;
			rear_dual_wide_tele_video_uhd30_int_cam = <1>;
			rear_dual_wide_tele_video_uhd30_mif = <0>;
			rear_dual_wide_tele_video_uhd30_icpu = <0>;

			rear_dual_wide_tele_video_uhd60_isp = <1>;
			rear_dual_wide_tele_video_uhd60_int_cam = <1>;
			rear_dual_wide_tele_video_uhd60_mif = <0>;
			rear_dual_wide_tele_video_uhd60_icpu = <0>;

			rear_dual_wide_tele_capture_cam = <0>;
			rear_dual_wide_tele_capture_isp = <1>;
			rear_dual_wide_tele_capture_int_cam = <1>;
			rear_dual_wide_tele_capture_mif = <0>;
			rear_dual_wide_tele_capture_icpu = <0>;

			rear_dual_wide_ultrawide_photo_isp = <1>;
			rear_dual_wide_ultrawide_photo_int_cam = <1>;
			rear_dual_wide_ultrawide_photo_mif = <0>;
			rear_dual_wide_ultrawide_photo_icpu = <0>;

			rear_dual_wide_ultrawide_video_fhd30_isp = <1>;
			rear_dual_wide_ultrawide_video_fhd30_int_cam = <1>;
			rear_dual_wide_ultrawide_video_fhd30_mif = <0>;
			rear_dual_wide_ultrawide_video_fhd30_icpu = <0>;

			rear_dual_wide_ultrawide_video_fhd60_isp = <1>;
			rear_dual_wide_ultrawide_video_fhd60_int_cam = <1>;
			rear_dual_wide_ultrawide_video_fhd60_mif = <0>;
			rear_dual_wide_ultrawide_video_fhd60_icpu = <0>;

			rear_dual_wide_ultrawide_video_uhd30_isp = <1>;
			rear_dual_wide_ultrawide_video_uhd30_int_cam = <1>;
			rear_dual_wide_ultrawide_video_uhd30_mif = <0>;
			rear_dual_wide_ultrawide_video_uhd30_icpu = <0>;

			rear_dual_wide_ultrawide_video_uhd60_isp = <1>;
			rear_dual_wide_ultrawide_video_uhd60_int_cam = <1>;
			rear_dual_wide_ultrawide_video_uhd60_mif = <0>;
			rear_dual_wide_ultrawide_video_uhd60_icpu = <0>;

			rear_dual_wide_ultrawide_capture_cam = <0>;
			rear_dual_wide_ultrawide_capture_isp = <1>;
			rear_dual_wide_ultrawide_capture_int_cam = <1>;
			rear_dual_wide_ultrawide_capture_mif = <0>;
			rear_dual_wide_ultrawide_capture_icpu = <0>;

			front_single_photo_isp = <6>;
			front_single_photo_int_cam = <4>;
			front_single_photo_mif = <8>;
			front_single_photo_icpu = <1>;

			front_single_photo_full_isp = <5>;
			front_single_photo_full_int_cam = <3>;
			front_single_photo_full_mif = <7>;
			front_single_photo_full_icpu = <1>;

			front_single_video_fhd30_isp = <6>;
			front_single_video_fhd30_int_cam = <4>;
			front_single_video_fhd30_mif = <8>;
			front_single_video_fhd30_icpu = <1>;

			front_single_video_fhd30_recursive_isp = <1>;
			front_single_video_fhd30_recursive_int_cam = <1>;
			front_single_video_fhd30_recursive_mif = <1>;
			front_single_video_fhd30_recursive_icpu = <0>;

			front_single_video_uhd30_isp = <6>;
			front_single_video_uhd30_int_cam = <4>;
			front_single_video_uhd30_mif = <6>;
			front_single_video_uhd30_icpu = <1>;

			front_single_video_uhd30_recursive_isp = <1>;
			front_single_video_uhd30_recursive_int_cam = <1>;
			front_single_video_uhd30_recursive_mif = <1>;
			front_single_video_uhd30_recursive_icpu = <0>;

			front_single_video_fhd60_isp = <5>;
			front_single_video_fhd60_int_cam = <3>;
			front_single_video_fhd60_mif = <5>;
			front_single_video_fhd60_icpu = <1>;

			front_single_video_uhd60_hf_isp = <1>;
			front_single_video_uhd60_hf_int_cam = <1>;
			front_single_video_uhd60_hf_mif = <0>;
			front_single_video_uhd60_hf_icpu = <0>;

			front_single_capture_cam = <0>;
			front_single_capture_isp = <0>;
			front_single_capture_int_cam = <4>;
			front_single_capture_mif = <0>;
			front_single_capture_icpu = <0>;

			front_single_vt_isp = <6>;
			front_single_vt_int_cam = <4>;
			front_single_vt_mif = <8>;
			front_single_vt_icpu = <1>;

			front_single_fastae_cam = <1>;
			front_single_fastae_isp = <1>;
			front_single_fastae_int_cam = <1>;
			front_single_fastae_mif = <1>;
			front_single_fastae_icpu = <0>;

			front_single_video_fhd120_isp = <1>;
			front_single_video_fhd120_int_cam = <1>;
			front_single_video_fhd120_mif = <1>;
			front_single_video_fhd120_icpu = <0>;

			pip_dual_photo_isp = <6>;
			pip_dual_photo_int_cam = <4>;
			pip_dual_photo_mif = <1>;
			pip_dual_photo_icpu = <0>;

			pip_dual_capture_cam = <0>;
			pip_dual_capture_isp = <1>;
			pip_dual_capture_int_cam = <4>;
			pip_dual_capture_mif = <1>;
			pip_dual_capture_icpu = <0>;

			pip_dual_video_fhd30_isp = <5>;
			pip_dual_video_fhd30_int_cam = <4>;
			pip_dual_video_fhd30_mif = <0>;
			pip_dual_video_fhd30_icpu = <0>;

			sensor_only_rear_single_cam = <1>;
			sensor_only_rear_single_isp = <1>;
			sensor_only_rear_single_int_cam = <1>;
			sensor_only_rear_single_mif = <1>;
			sensor_only_rear_single_icpu = <0>;

			sensor_only_front_cam = <1>;
			sensor_only_front_isp = <1>;
			sensor_only_front_int_cam = <1>;
			sensor_only_front_mif = <1>;
			sensor_only_front_icpu = <0>;

			throttling_cam = <0>;
			throttling_isp = <0>;
			throttling_int_cam = <0>;
			throttling_mif = <0>;
			throttling_icpu = <0>;

			max_csis = <1>;
			max_cam = <1>;
			max_isp = <1>;
			max_int_cam = <1>;
			max_mif = <1>;
			max_icpu = <0>;
		};
	};
};
